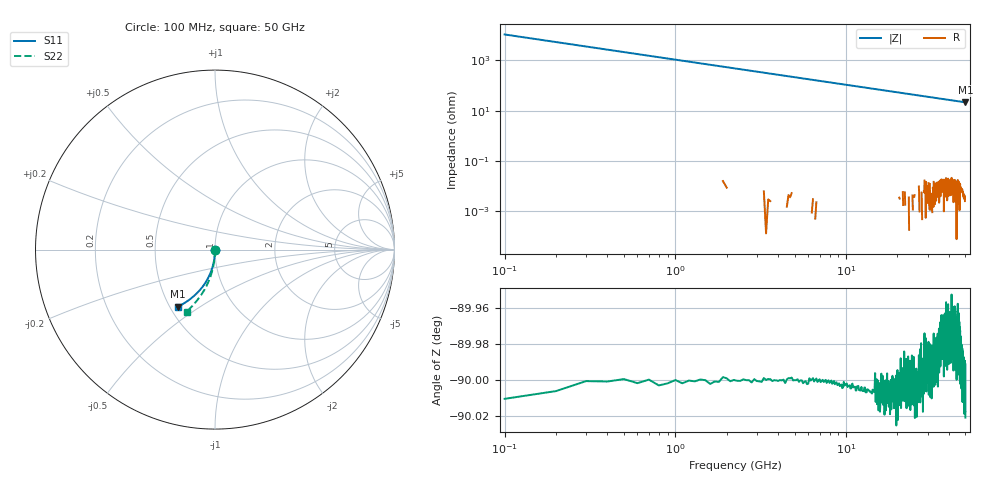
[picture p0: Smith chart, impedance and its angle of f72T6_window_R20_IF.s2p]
! Sonnet Data File
! From: emgraph Version : 10.52
! From Emgraph Data: f72T6_window_R20
! Data File Written: 03/14/2007 17:39:56
!< HDATE 03/14/2007 17:36:04
!< MDATE 03/14/2007 17:36:04
# GHZ S MA R 20.00000
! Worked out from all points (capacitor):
!   500 points, 100 MHz to 50 GHz, reference 20 ohm
!   read as one part in shunt: C = 150 fF near 300 MHz
!   lowest |Z| = 21.4 ohm at 50 GHz (marker M1)
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0.1  0.0008261 -90.1  1 -0.1  1 -0.1  0.0008261 -90.0
0.2  0.001652 -90.1  1 -0.1  1 -0.1  0.001652 -90.1
0.4  0.003303 -90.2  1 -0.2  1 -0.2  0.003303 -90.2
0.5  0.004129 -90.3  1 -0.3  1 -0.3  0.004129 -90.2
0.6  0.004955 -90.4  1 -0.4  1 -0.4  0.004955 -90.3
0.8  0.006607 -90.5  1 -0.5  1 -0.5  0.006606 -90.4
1  0.008258 -90.7  1 -0.6  1 -0.6  0.008258 -90.5
1.3  0.01073 -90.9  0.9999 -0.8  0.9999 -0.8  0.01073 -90.7
1.7  0.01404 -91.2  0.9999 -1.0  0.9999 -1.0  0.01404 -90.9
2.1  0.01734 -91.4  0.9998 -1.3  0.9998 -1.3  0.01734 -91.1
2.6  0.02147 -91.8  0.9998 -1.6  0.9998 -1.6  0.02147 -91.3
3.2  0.02642 -92.2  0.9997 -1.9  0.9997 -1.9  0.02642 -91.7
4.6  0.03796 -93.2  0.9993 -2.8  0.9993 -2.8  0.03796 -92.4
6.4  0.05279 -94.4  0.9986 -3.9  0.9986 -3.9  0.05278 -93.3
8.5  0.07009 -95.8  0.9975 -5.1  0.9975 -5.1  0.07007 -94.3
12.2  0.1005 -98.3  0.9948 -7.3  0.9948 -7.3  0.1004 -96.2
16.8  0.138 -101.4  0.9904 -10.1  0.9904 -10.1  0.1378 -98.6
20.7  0.169 -104.1  0.9858 -12.4  0.9858 -12.4  0.1688 -100.7
25.1  0.203 -107.1  0.9793 -15.0  0.9793 -15.0  0.2029 -102.9
33.4  0.2661 -112.8  0.965 -19.7  0.965 -19.7  0.2654 -107.1
41.7  0.3254 -118.2  0.947 -24.4  0.947 -24.4  0.3245 -111.0
50  0.3804 -123.1  0.9248 -28.9  0.9248 -28.9  0.3804 -114.6
